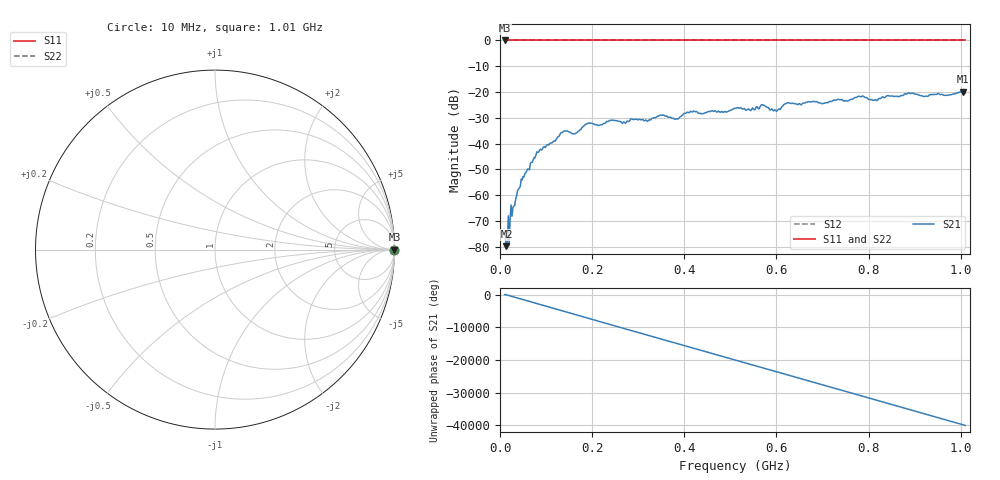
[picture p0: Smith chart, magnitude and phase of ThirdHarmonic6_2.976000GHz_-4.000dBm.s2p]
! 8/17/2025 8:26:19 AM
! C:\ANRITSUVNA\TEMP\TEMP.S2P
! CHANNEL.1
! TR.MEASUREMENT
! RAW.DATA
! RF.CORRECTION.OFF
! AVERAGING.OFF
! IF.BANDWIDTH: 5KHZ
! SWEEPTYPE:  FREQ.SWEEP(Linear)
! Reference Plane Port Info
! PORT:  PORT1  PORT2
! DISTANCE:  0  m  0  m
! TIME:  0  s  0  s
! PHASE.OFFSET:  0  deg.  0  deg.
! LOSS:  0  dB  0  dB
! REF.LOSS:  0  dB  0  dB
! REF.FREQ:  0  Hz  0  Hz
! Power Info
! POWER:  -20  dBm  -20  dBm
! EFF.POWER:  -20  dBm  -20  dBm
! SOURCE.ATTEN:  0  dB  0  dB
! TEST.ATTEN:  0  dB  0  dB
# GHZ S RI R 50.0
! FREQ.GHZ  S11RE  S11IM  S21RE  S21IM  S12RE  S12IM  S22RE  S22IM
!; PortSelection: Port_12
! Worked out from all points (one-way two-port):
!   501 points, 10 MHz to 1.01 GHz, reference 50 ohm
!   highest |S21| = -19.82 dB at 1.004 GHz (marker M1); lowest = -79.8 dB at 14 MHz (marker M2)
!   lowest |S11| = 0.0 dB at 10 MHz (marker M3)
!   |S11| at or under -10 dB: nowhere
!   |S22| runs from 0.0 to 0.0 dB; largest |S21 - S12| = 1.1
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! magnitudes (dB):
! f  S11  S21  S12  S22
! 10 MHz  0.0  -74.3  0.0  0.0
! 14 MHz  0.0  -79.8  0.0  0.0
! 16 MHz  0.0  -78.2  0.0  0.0
! 26 MHz  0.0  -68.2  0.0  0.0
! 42 MHz  0.0  -57.3  0.0  0.0
! 82 MHz  0.0  -43.3  0.0  0.0
! 136 MHz  0.0  -35.6  0.0  0.0
! 162 MHz  0.0  -36.3  0.0  0.0
! 178 MHz  0.0  -33.7  0.0  0.0
! 194 MHz  0.0  -32.1  0.0  0.0
! 322 MHz  0.0  -31.1  0.0  0.0
! 344 MHz  0.0  -29.4  0.0  0.0
! 384 MHz  0.0  -30.4  0.0  0.0
! 410 MHz  0.0  -28.1  0.0  0.0
! 510 MHz  0.0  -26.3  0.0  0.0
! 570 MHz  0.0  -24.9  0.0  0.0
! 598 MHz  0.0  -27.1  0.0  0.0
! 622 MHz  0.0  -24.3  0.0  0.0
! 678 MHz  0.0  -23.7  0.0  0.0
! 844 MHz  0.0  -21.5  0.0  0.0
! 1.004 GHz  0.0  -19.8  0.0  0.0
! 1.01 GHz  0.0  -20.5  0.0  0.0
